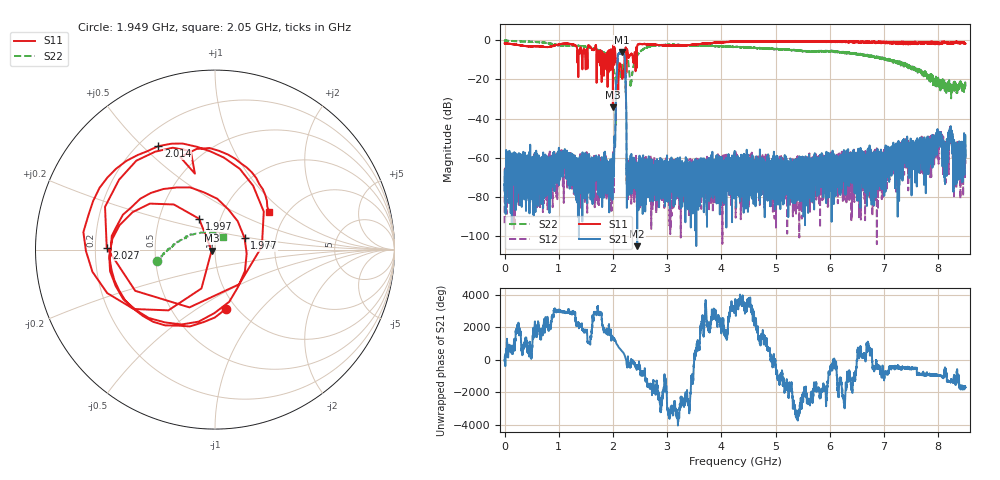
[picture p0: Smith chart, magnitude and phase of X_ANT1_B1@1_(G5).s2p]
#  HZ  S  RI  R  50.00
! Rohde & Schwarz Vector Network Analyzer
! Rohde-Schwarz,ZNBT8-20Port,1318700624101681,3.50
! Created: UTC 7/15/2025, 2:07:35 PM
! freq[Hz]  re:S1010  im:S1010  re:S0610  im:S0610  re:S1006  im:S1006  re:S66  im:S66
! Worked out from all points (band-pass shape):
!   8500 points, 1 MHz to 8.5 GHz, reference 50 ohm
!   highest |S21| = -5.94 dB at 2.167 GHz (marker M1); lowest = -105.3 dB at 2.447 GHz (marker M2)
!   |S21| within 3 dB of the highest: 2.086 GHz to 2.219 GHz (132.3 MHz wide, 6.15 % of centre)
!   lowest |S11| = -34.2 dB at 1.998 GHz (marker M3), VSWR 1.04, Z = 48.2 - j0.53 ohm
!   |S11| at or under -10 dB: 1.856 GHz to 1.87 GHz (13.49 MHz wide, 0.724 % of centre); 2.06 GHz to 2.212 GHz (152 MHz wide, 7.12 % of centre); 2.369 GHz to 2.383 GHz (14.21 MHz wide, 0.598 % of centre)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
!   |S22| runs from -43.2 to -0.1 dB; largest |S21 - S12| = 0.023
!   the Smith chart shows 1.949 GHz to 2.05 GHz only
!   S11 on the Smith chart (normalised r, x): 1.949 GHz: 0.90, -0.67; 1.977 GHz: 1.38, +0.18; 1.997 GHz: 0.79, +0.28; 2.014 GHz: 0.28, +0.56; 2.027 GHz: 0.25, +0.01; 2.05 GHz: 1.62, +0.79
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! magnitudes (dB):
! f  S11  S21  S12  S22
! 1 MHz  -1.6  -74.0  -93.5  -0.2
! 1.03 GHz  -2.0  -56.8  -57.9  -2.7
! 1.418 GHz  -5.1  -64.6  -65.5  -3.0
! 1.949 GHz  -9.5  -73.5  -62.8  -9.6
! 1.977 GHz  -15.0  -62.5  -67.5  -11.4
! 1.997 GHz  -14.3  -65.6  -64.0  -13.1
! 1.998 GHz  -34.2  -70.1  -59.9  -13.0
! 2.014 GHz  -3.6  -63.5  -60.6  -14.8
! 2.027 GHz  -4.4  -49.2  -48.6  -16.7
! 2.05 GHz  -8.7  -33.3  -33.1  -21.6
! 2.094 GHz  -23.5  -7.4  -7.3  -12.5
! 2.167 GHz  -19.2  -5.9  -6.0  -12.7
! 2.206 GHz  -14.3  -6.7  -6.7  -14.0
! 2.291 GHz  -9.0  -79.1  -72.0  -13.5
! 2.447 GHz  -2.8  -105.3  -73.0  -7.9
! 2.834 GHz  -2.4  -74.6  -70.8  -2.5
! 4.251 GHz  -0.7  -67.6  -63.6  -3.5
! 5.667 GHz  -0.4  -65.2  -65.5  -5.8
! 7.084 GHz  -1.0  -57.0  -63.3  -10.2
! 8.022 GHz  -1.6  -50.9  -50.9  -20.5
! 8.32 GHz  -0.9  -57.4  -64.5  -22.1
! 8.5 GHz  -1.7  -59.7  -53.6  -23.3
